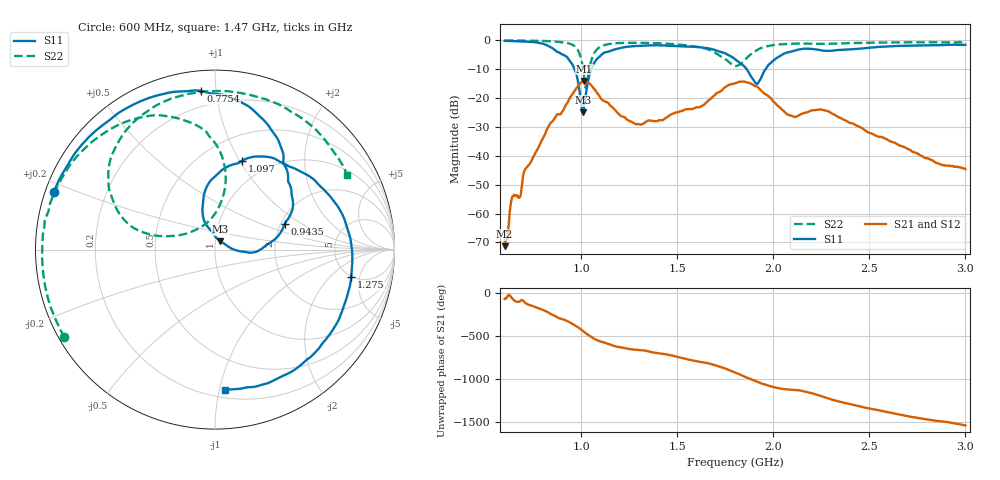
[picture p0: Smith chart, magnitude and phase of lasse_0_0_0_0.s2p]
#  HZ  S  RI  R  50.00
! Rohde & Schwarz ZVB8 2Ports - Version 2.81 - 1145.1010k08 SN: 100113
! Date: 2016-05-04 02:48:29
! Measurements: S11 S21 S12 S22
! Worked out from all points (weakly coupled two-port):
!   1000 points, 600 MHz to 3 GHz, reference 50 ohm
!   highest |S21| = -14.26 dB at 1.016 GHz (marker M1); lowest = -71.3 dB at 600 MHz (marker M2)
!   lowest |S11| = -25.1 dB at 1.008 GHz (marker M3), VSWR 1.12, Z = 52.8 + j4.98 ohm
!   |S11| at or under -10 dB: 963.2 MHz to 1.053 GHz (90.09 MHz wide, 8.94 % of centre); 1.86 GHz to 1.961 GHz (101.1 MHz wide, 5.3 % of centre)
!   |S22| runs from -16.6 to -0.3 dB; largest |S21 - S12| = 0.0024
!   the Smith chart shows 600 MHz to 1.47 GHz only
!   S11 on the Smith chart (normalised r, x): 600 MHz: 0.02, +0.17; 775.4 MHz: 0.11, +0.91; 943.5 MHz: 2.10, +0.72; 1.097 GHz: 0.76, +1.03; 1.275 GHz: 4.94, -3.75; 1.47 GHz: 0.26, -1.04
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6e8  -0.8971 0.3237  8.06e-05 -0.000261  0.000148 -0.00031  -0.8392 -0.4886
6.408408e8  -0.7922 0.5193  0.000664 -0.00187  0.000683 -0.00181  -0.906 -0.344
7.753754e8  -0.0803 0.8848  -0.0137 -1.97e-05  -0.0137 -0.000159  -0.9477 0.1698
8.522523e8  0.3544 0.6056  -0.0076 0.0395  -0.00771 0.0394  -0.8124 0.4649
9.435435e8  0.3876 0.1417  0.1022 0.0188  0.102 0.0194  -0.4108 0.7371
1.001201e9  0.0634 0.0247  0.0546 -0.1782  0.0556 -0.1777  0.0597 0.4189
1.008408e9  0.0295 0.047  0.0144 -0.1897  0.0155 -0.1894  0.0493 0.3114
1.015616e9  -0.00377 0.08  -0.0278 -0.1915  -0.0267 -0.1914  0.00643 0.2091
1.046847e9  -0.0663 0.2669  -0.1456 -0.0877  -0.1451 -0.0879  -0.3716 0.0874
1.097297e9  0.1514 0.4957  -0.0911 0.0444  -0.0907 0.0441  -0.5905 0.4681
1.275075e9  0.7594 -0.1521  0.0192 0.0307  0.0189 0.0308  0.1028 0.8779
1.4e9  0.393 -0.6967  0.0381 0.0123  0.038 0.0125  0.5707 0.659
1.46967e9  0.0575 -0.7797  0.0511 -0.00847  0.0511 -0.00816  0.7358 0.4139
1.657057e9  -0.6203 -0.354  -0.0136 -0.0859  -0.0129 -0.0861  0.6175 -0.3003
1.801201e9  -0.4348 0.1429  -0.1572 0.0841  -0.1574 0.0827  0.2796 -0.2165
1.914114e9  -0.1714 0.0197  0.1076 0.1121  0.1063 0.1127  0.5376 -0.3867
2.067868e9  -0.5672 0.1873  0.0382 -0.0365  0.0382 -0.0363  0.1334 -0.8331
2.2e9  -0.2695 0.6409  0.00174 -0.0604  0.00213 -0.0603  -0.2996 -0.7988
2.413814e9  0.4119 0.5489  -0.0263 0.0241  -0.0265 0.0239  -0.732 -0.4799
2.601201e9  0.7629 -0.0804  0.012 0.0136  0.0119 0.0137  -0.8955 -0.0664
2.805405e9  0.2791 -0.7485  0.0075 -0.00489  0.00748 -0.00482  -0.8091 0.3999
3e9  -0.4399 -0.687  -0.00129 -0.00566  -0.0012 -0.00572  -0.5149 0.7337
